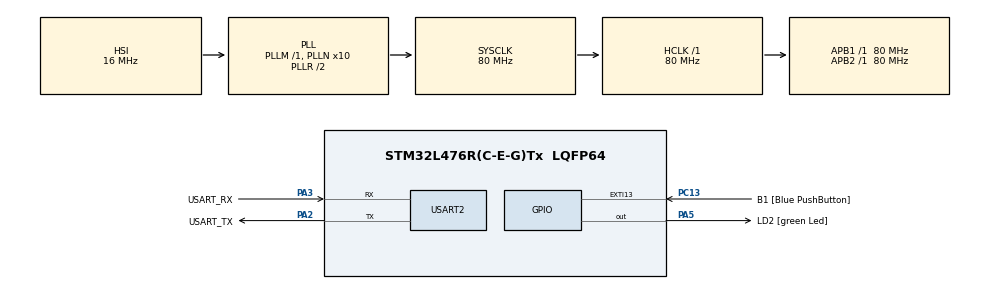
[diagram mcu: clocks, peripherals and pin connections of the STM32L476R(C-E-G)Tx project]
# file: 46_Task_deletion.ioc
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FREERTOS.Tasks01=defaultTask,0,128,StartDefaultTask,Default,NULL,Dynamic,NULL,NULL
Mcu.Family=STM32L4
Mcu.Name=STM32L476R(C-E-G)Tx
Mcu.Package=LQFP64
NVIC.PriorityGroup=NVIC_PRIORITYGROUP_4
PA13\ (JTMS-SWDIO).GPIO_Label=TMS
PA13\ (JTMS-SWDIO).Mode=Serial_Wire
PA13\ (JTMS-SWDIO).Signal=SYS_JTMS-SWDIO
PA14\ (JTCK-SWCLK).GPIO_Label=TCK
PA14\ (JTCK-SWCLK).Mode=Serial_Wire
PA14\ (JTCK-SWCLK).Signal=SYS_JTCK-SWCLK
PA2.GPIO_Label=USART_TX
PA2.GPIO_Mode=GPIO_MODE_AF_PP
PA2.GPIO_PuPd=GPIO_NOPULL
PA2.GPIO_Speed=GPIO_SPEED_FREQ_VERY_HIGH
PA2.Mode=Asynchronous
PA2.Signal=USART2_TX
PA3.GPIO_Label=USART_RX
PA3.GPIO_Mode=GPIO_MODE_AF_PP
PA3.GPIO_PuPd=GPIO_NOPULL
PA3.GPIO_Speed=GPIO_SPEED_FREQ_VERY_HIGH
PA3.Mode=Asynchronous
PA3.Signal=USART2_RX
PA5.GPIO_Label=LD2 [green Led]
PA5.GPIO_ModeDefaultOutputPP=GPIO_MODE_OUTPUT_PP
PA5.GPIO_PuPd=GPIO_NOPULL
PA5.GPIO_Speed=GPIO_SPEED_FREQ_LOW
PA5.Signal=GPIO_Output
PB3\ (JTDO-TRACESWO).GPIO_Label=SWO
PB3\ (JTDO-TRACESWO).Signal=SYS_JTDO-SWO
PC13.GPIO_Label=B1 [Blue PushButton]
PC13.GPIO_ModeDefaultEXTI=GPIO_MODE_IT_FALLING
PC13.GPIO_PuPd=GPIO_NOPULL
PC13.Signal=GPXTI13
PC14-OSC32_IN\ (PC14).Mode=LSE-External-Oscillator
PC14-OSC32_IN\ (PC14).Signal=RCC_OSC32_IN
PC15-OSC32_OUT\ (PC15).Mode=LSE-External-Oscillator
PC15-OSC32_OUT\ (PC15).Signal=RCC_OSC32_OUT
PH0-OSC_IN\ (PH0).Signal=RCC_OSC_IN
PH1-OSC_OUT\ (PH1).Signal=RCC_OSC_OUT
ProjectManager.HeapSize=0x200
ProjectManager.StackSize=0x400
ProjectManager.TargetToolchain=STM32CubeIDE
RCC.ADCFreq_Value=64000000
RCC.AHBFreq_Value=80000000
RCC.APB1Freq_Value=80000000
RCC.APB1TimFreq_Value=80000000
RCC.APB2Freq_Value=80000000
RCC.APB2TimFreq_Value=80000000
RCC.CortexFreq_Value=80000000
RCC.HCLKFreq_Value=80000000
RCC.HSE_VALUE=8000000
RCC.HSI_VALUE=16000000
RCC.MSI_VALUE=4000000
RCC.PLLN=10
RCC.PLLSourceVirtual=RCC_PLLSOURCE_HSI
RCC.PREFETCH_ENABLE=1
RCC.SYSCLKFreq_VALUE=80000000
RCC.SYSCLKSource=RCC_SYSCLKSOURCE_PLLCLK
RCC.USBFreq_Value=64000000
RCC.VCOOutputFreq_Value=160000000
USART2.VirtualMode-Asynchronous=VM_ASYNC
VP_FREERTOS_VS_CMSIS_V1.Mode=CMSIS_V1
board=NUCLEO-L476RG

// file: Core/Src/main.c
/* USER CODE BEGIN Header */
/**
  ******************************************************************************
  * @file           : main.c
  * @brief          : Main program body
  ******************************************************************************
  * @attention
  *
  * Copyright (c) 2025 STMicroelectronics.
  * All rights reserved.
  *
  * This software is licensed under terms that can be found in the LICENSE file
  * in the root directory of this software component.
  * If no LICENSE file comes with this software, it is provided AS-IS.
  *
  ******************************************************************************
  */
/* USER CODE END Header */
#include "main.h"
#include "cmsis_os.h"

/* USER CODE BEGIN Includes */
#include<stdio.h>
#include<stdarg.h>
/* USER CODE END Includes */

UART_HandleTypeDef huart2;

osThreadId defaultTaskHandle;
/* USER CODE BEGIN PV */
uint8_t BUTTON_PRESSED=0;
/* USER CODE END PV */

void SystemClock_Config(void);
static void MX_GPIO_Init(void);
static void MX_USART2_UART_Init(void);
void StartDefaultTask(void const * argument);

/* USER CODE BEGIN 0 */

void debug_printf(const char *fmt, ...)
{
	char buffer[256];
	va_list args;
	va_start(args, fmt);
	vsnprintf(buffer, sizeof(buffer), fmt, args);
	va_end(args);
	uint16_t i = 0;
	while(buffer[i] != '\0')
	{
		ITM_SendChar(buffer[i]);
		i++;
	}
}

//TaskHandle_t xTaskHandler1 = NULL ;
void rtos_delay(uint32_t delay_in_ms)
{
	uint32_t current_tick_count = xTaskGetTickCount();

	uint32_t delay_in_ticks =(delay_in_ms * configTICK_RATE_HZ)/1000;

	while(xTaskGetTickCount() < (current_tick_count + delay_in_ticks));
}
TaskHandle_t xTaskHandler1 = NULL ;
TaskHandle_t xTaskHandler2 = NULL ;
BaseType_t status;
void led_Task_Handler(void *params)
{

	debug_printf("Task-1 is Running:");
	while(1)
	{
		rtos_delay(100);
		HAL_GPIO_TogglePin(LD2_GPIO_Port, LD2_Pin);
	}
}
void btn_Task_Handler(void *params)
{
	debug_printf("Task-2 is Running:");

	while(1)
	{
		if(HAL_GPIO_ReadPin(GPIOB, GPIO_PIN_13)==1)
		{
			rtos_delay(200);
			HAL_GPIO_TogglePin(LD2_GPIO_Port, LD2_Pin);
			debug_printf("Task-2 is Deleted");
			vTaskDelete(NULL);

		}
		else
		{
			rtos_delay(200);
			HAL_GPIO_TogglePin(LD2_GPIO_Port, LD2_Pin);
		}
	}
}
/* USER CODE END 0 */

int main(void)
{

  /* MCU Configuration--------------------------------------------------------*/

  /* Reset of all peripherals, Initializes the Flash interface and the Systick. */
  HAL_Init();

  /* Configure the system clock */
  SystemClock_Config();

  /* Initialize all configured peripherals */
  MX_GPIO_Init();
  MX_USART2_UART_Init();

  /* Create the thread(s) */
  /* definition and creation of defaultTask */
  osThreadDef(defaultTask, StartDefaultTask, osPriorityNormal, 0, 128);
  defaultTaskHandle = osThreadCreate(osThread(defaultTask), NULL);

  /* USER CODE BEGIN RTOS_THREADS */
  /* add threads, ... */
  status=xTaskCreate(led_Task_Handler,"Led_Task",200,NULL,1,&xTaskHandler1);
   configASSERT(status);
 	if(status != pdTRUE)
 	{
 	  debug_printf("Led_Task failed\n");
 	}
   status=xTaskCreate(btn_Task_Handler,"BUTTON_Task",200,NULL,1,&xTaskHandler2);
   configASSERT(status);
     if(status != pdTRUE)
     {
   	  debug_printf("BUTTON_Task failed\n");
     }
     vTaskStartScheduler();
  /* USER CODE END RTOS_THREADS */

  /* Start scheduler */
  osKernelStart();

  /* We should never get here as control is now taken by the scheduler */

  /* Infinite loop */
  while (1)
  {

  }
}

void SystemClock_Config(void)
{
  RCC_OscInitTypeDef RCC_OscInitStruct = {0};
  RCC_ClkInitTypeDef RCC_ClkInitStruct = {0};

  /** Configure the main internal regulator output voltage
  */
  if (HAL_PWREx_ControlVoltageScaling(PWR_REGULATOR_VOLTAGE_SCALE1) != HAL_OK)
  {
    Error_Handler();
  }

  /** Initializes the RCC Oscillators according to the specified parameters
  * in the RCC_OscInitTypeDef structure.
  */
  RCC_OscInitStruct.OscillatorType = RCC_OSCILLATORTYPE_HSI;
  RCC_OscInitStruct.HSIState = RCC_HSI_ON;
  RCC_OscInitStruct.HSICalibrationValue = RCC_HSICALIBRATION_DEFAULT;
  RCC_OscInitStruct.PLL.PLLState = RCC_PLL_ON;
  RCC_OscInitStruct.PLL.PLLSource = RCC_PLLSOURCE_HSI;
  RCC_OscInitStruct.PLL.PLLM = 1;
  RCC_OscInitStruct.PLL.PLLN = 10;
  RCC_OscInitStruct.PLL.PLLP = RCC_PLLP_DIV7;
  RCC_OscInitStruct.PLL.PLLQ = RCC_PLLQ_DIV2;
  RCC_OscInitStruct.PLL.PLLR = RCC_PLLR_DIV2;
  if (HAL_RCC_OscConfig(&RCC_OscInitStruct) != HAL_OK)
  {
    Error_Handler();
  }

  /** Initializes the CPU, AHB and APB buses clocks
  */
  RCC_ClkInitStruct.ClockType = RCC_CLOCKTYPE_HCLK|RCC_CLOCKTYPE_SYSCLK
                              |RCC_CLOCKTYPE_PCLK1|RCC_CLOCKTYPE_PCLK2;
  RCC_ClkInitStruct.SYSCLKSource = RCC_SYSCLKSOURCE_PLLCLK;
  RCC_ClkInitStruct.AHBCLKDivider = RCC_SYSCLK_DIV1;
  RCC_ClkInitStruct.APB1CLKDivider = RCC_HCLK_DIV1;
  RCC_ClkInitStruct.APB2CLKDivider = RCC_HCLK_DIV1;

  if (HAL_RCC_ClockConfig(&RCC_ClkInitStruct, FLASH_LATENCY_4) != HAL_OK)
  {
    Error_Handler();
  }
}

static void MX_USART2_UART_Init(void)
{

  huart2.Instance = USART2;
  huart2.Init.BaudRate = 115200;
  huart2.Init.WordLength = UART_WORDLENGTH_8B;
  huart2.Init.StopBits = UART_STOPBITS_1;
  huart2.Init.Parity = UART_PARITY_NONE;
  huart2.Init.Mode = UART_MODE_TX_RX;
  huart2.Init.HwFlowCtl = UART_HWCONTROL_NONE;
  huart2.Init.OverSampling = UART_OVERSAMPLING_16;
  huart2.Init.OneBitSampling = UART_ONE_BIT_SAMPLE_DISABLE;
  huart2.AdvancedInit.AdvFeatureInit = UART_ADVFEATURE_NO_INIT;
  if (HAL_UART_Init(&huart2) != HAL_OK)
  {
    Error_Handler();
  }

}

static void MX_GPIO_Init(void)
{
  GPIO_InitTypeDef GPIO_InitStruct = {0};

  /* GPIO Ports Clock Enable */
  __HAL_RCC_GPIOC_CLK_ENABLE();
  __HAL_RCC_GPIOH_CLK_ENABLE();
  __HAL_RCC_GPIOA_CLK_ENABLE();
  __HAL_RCC_GPIOB_CLK_ENABLE();

  /*Configure GPIO pin Output Level */
  HAL_GPIO_WritePin(LD2_GPIO_Port, LD2_Pin, GPIO_PIN_RESET);

  /*Configure GPIO pin : PC13 */
  GPIO_InitStruct.Pin = GPIO_PIN_13;
  GPIO_InitStruct.Mode = GPIO_MODE_IT_FALLING;
  GPIO_InitStruct.Pull = GPIO_NOPULL;
  HAL_GPIO_Init(GPIOC, &GPIO_InitStruct);

  /*Configure GPIO pin : LD2_Pin */
  GPIO_InitStruct.Pin = LD2_Pin;
  GPIO_InitStruct.Mode = GPIO_MODE_OUTPUT_PP;
  GPIO_InitStruct.Pull = GPIO_NOPULL;
  GPIO_InitStruct.Speed = GPIO_SPEED_FREQ_LOW;
  HAL_GPIO_Init(LD2_GPIO_Port, &GPIO_InitStruct);

}

void StartDefaultTask(void const * argument)
{
  for(;;)
  {
    osDelay(1);
  }
}

void Error_Handler(void)
{
  __disable_irq();
  while (1)
  {
  }
}
